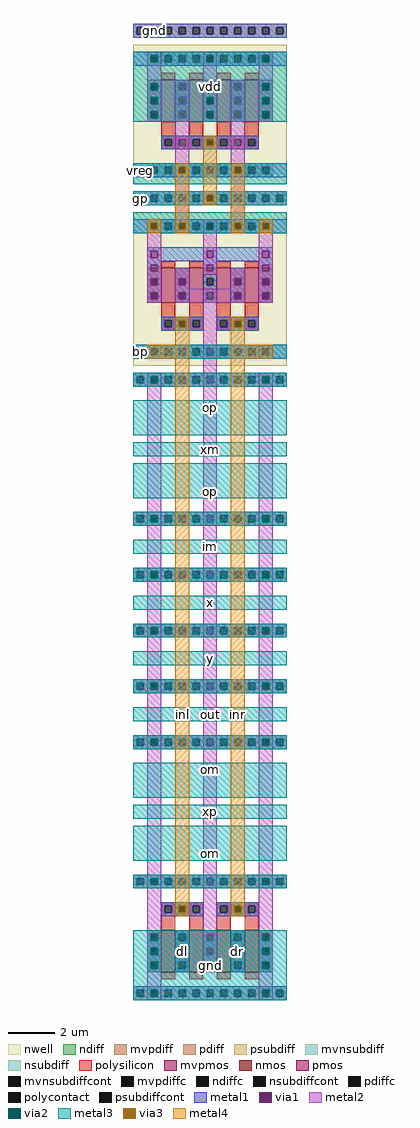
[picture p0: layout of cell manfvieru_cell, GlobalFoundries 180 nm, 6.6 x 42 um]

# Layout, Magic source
magic
tech gf180mcuC
<< nwell >>
rect -720 570 -588 690
rect -720 414 -588 546
<< nmos >>
rect -696 -108 -684 -72
rect -672 -108 -660 -72
rect -648 -108 -636 -72
rect -624 -108 -612 -72
<< pmos >>
rect -696 468 -684 498
rect -672 468 -660 498
rect -648 468 -636 498
rect -624 468 -612 498
<< mvpmos >>
rect -696 624 -684 660
rect -672 624 -660 660
rect -648 624 -636 660
rect -624 624 -612 660
<< ndiff >>
rect -708 -75 -696 -72
rect -708 -81 -705 -75
rect -699 -81 -696 -75
rect -708 -87 -696 -81
rect -708 -93 -705 -87
rect -699 -93 -696 -87
rect -708 -99 -696 -93
rect -708 -105 -705 -99
rect -699 -105 -696 -99
rect -708 -108 -696 -105
rect -684 -75 -672 -72
rect -684 -81 -681 -75
rect -675 -81 -672 -75
rect -684 -87 -672 -81
rect -684 -93 -681 -87
rect -675 -93 -672 -87
rect -684 -99 -672 -93
rect -684 -105 -681 -99
rect -675 -105 -672 -99
rect -684 -108 -672 -105
rect -660 -75 -648 -72
rect -660 -81 -657 -75
rect -651 -81 -648 -75
rect -660 -87 -648 -81
rect -660 -93 -657 -87
rect -651 -93 -648 -87
rect -660 -99 -648 -93
rect -660 -105 -657 -99
rect -651 -105 -648 -99
rect -660 -108 -648 -105
rect -636 -75 -624 -72
rect -636 -81 -633 -75
rect -627 -81 -624 -75
rect -636 -87 -624 -81
rect -636 -93 -633 -87
rect -627 -93 -624 -87
rect -636 -99 -624 -93
rect -636 -105 -633 -99
rect -627 -105 -624 -99
rect -636 -108 -624 -105
rect -612 -75 -600 -72
rect -612 -81 -609 -75
rect -603 -81 -600 -75
rect -612 -87 -600 -81
rect -612 -93 -609 -87
rect -603 -93 -600 -87
rect -612 -99 -600 -93
rect -612 -105 -609 -99
rect -603 -105 -600 -99
rect -612 -108 -600 -105
<< pdiff >>
rect -708 489 -696 498
rect -708 483 -705 489
rect -699 483 -696 489
rect -708 477 -696 483
rect -708 471 -705 477
rect -699 471 -696 477
rect -708 468 -696 471
rect -684 489 -672 498
rect -684 483 -681 489
rect -675 483 -672 489
rect -684 477 -672 483
rect -684 471 -681 477
rect -675 471 -672 477
rect -684 468 -672 471
rect -660 489 -648 498
rect -660 483 -657 489
rect -651 483 -648 489
rect -660 477 -648 483
rect -660 471 -657 477
rect -651 471 -648 477
rect -660 468 -648 471
rect -636 489 -624 498
rect -636 483 -633 489
rect -627 483 -624 489
rect -636 477 -624 483
rect -636 471 -633 477
rect -627 471 -624 477
rect -636 468 -624 471
rect -612 489 -600 498
rect -612 483 -609 489
rect -603 483 -600 489
rect -612 477 -600 483
rect -612 471 -609 477
rect -603 471 -600 477
rect -612 468 -600 471
<< mvpdiff >>
rect -708 657 -696 660
rect -708 651 -705 657
rect -699 651 -696 657
rect -708 645 -696 651
rect -708 639 -705 645
rect -699 639 -696 645
rect -708 633 -696 639
rect -708 627 -705 633
rect -699 627 -696 633
rect -708 624 -696 627
rect -684 657 -672 660
rect -684 651 -681 657
rect -675 651 -672 657
rect -684 645 -672 651
rect -684 639 -681 645
rect -675 639 -672 645
rect -684 633 -672 639
rect -684 627 -681 633
rect -675 627 -672 633
rect -684 624 -672 627
rect -660 657 -648 660
rect -660 651 -657 657
rect -651 651 -648 657
rect -660 645 -648 651
rect -660 639 -657 645
rect -651 639 -648 645
rect -660 633 -648 639
rect -660 627 -657 633
rect -651 627 -648 633
rect -660 624 -648 627
rect -636 657 -624 660
rect -636 651 -633 657
rect -627 651 -624 657
rect -636 645 -624 651
rect -636 639 -633 645
rect -627 639 -624 645
rect -636 633 -624 639
rect -636 627 -633 633
rect -627 627 -624 633
rect -636 624 -624 627
rect -612 657 -600 660
rect -612 651 -609 657
rect -603 651 -600 657
rect -612 645 -600 651
rect -612 639 -609 645
rect -603 639 -600 645
rect -612 633 -600 639
rect -612 627 -609 633
rect -603 627 -600 633
rect -612 624 -600 627
<< ndiffc >>
rect -705 -81 -699 -75
rect -705 -93 -699 -87
rect -705 -105 -699 -99
rect -681 -81 -675 -75
rect -681 -93 -675 -87
rect -681 -105 -675 -99
rect -657 -81 -651 -75
rect -657 -93 -651 -87
rect -657 -105 -651 -99
rect -633 -81 -627 -75
rect -633 -93 -627 -87
rect -633 -105 -627 -99
rect -609 -81 -603 -75
rect -609 -93 -603 -87
rect -609 -105 -603 -99
<< pdiffc >>
rect -705 483 -699 489
rect -705 471 -699 477
rect -681 483 -675 489
rect -681 471 -675 477
rect -657 483 -651 489
rect -657 471 -651 477
rect -633 483 -627 489
rect -633 471 -627 477
rect -609 483 -603 489
rect -609 471 -603 477
<< mvpdiffc >>
rect -705 651 -699 657
rect -705 639 -699 645
rect -705 627 -699 633
rect -681 651 -675 657
rect -681 639 -675 645
rect -681 627 -675 633
rect -657 651 -651 657
rect -657 639 -651 645
rect -657 627 -651 633
rect -633 651 -627 657
rect -633 639 -627 645
rect -633 627 -627 633
rect -609 651 -603 657
rect -609 639 -603 645
rect -609 627 -603 633
<< psubdiff >>
rect -720 705 -588 708
rect -720 699 -717 705
rect -711 699 -705 705
rect -699 699 -693 705
rect -687 699 -681 705
rect -675 699 -669 705
rect -663 699 -657 705
rect -651 699 -645 705
rect -639 699 -633 705
rect -627 699 -621 705
rect -615 699 -609 705
rect -603 699 -597 705
rect -591 699 -588 705
rect -720 696 -588 699
rect -720 561 -588 564
rect -720 555 -717 561
rect -711 555 -705 561
rect -699 555 -693 561
rect -687 555 -681 561
rect -675 555 -669 561
rect -663 555 -657 561
rect -651 555 -645 561
rect -639 555 -633 561
rect -627 555 -621 561
rect -615 555 -609 561
rect -603 555 -597 561
rect -591 555 -588 561
rect -720 552 -588 555
rect -720 405 -588 408
rect -720 399 -717 405
rect -711 399 -705 405
rect -699 399 -693 405
rect -687 399 -681 405
rect -675 399 -669 405
rect -663 399 -657 405
rect -651 399 -645 405
rect -639 399 -633 405
rect -627 399 -621 405
rect -615 399 -609 405
rect -603 399 -597 405
rect -591 399 -588 405
rect -720 396 -588 399
rect -720 285 -588 288
rect -720 279 -717 285
rect -711 279 -705 285
rect -699 279 -693 285
rect -687 279 -681 285
rect -675 279 -669 285
rect -663 279 -657 285
rect -651 279 -645 285
rect -639 279 -633 285
rect -627 279 -621 285
rect -615 279 -609 285
rect -603 279 -597 285
rect -591 279 -588 285
rect -720 276 -588 279
rect -720 237 -588 240
rect -720 231 -717 237
rect -711 231 -705 237
rect -699 231 -693 237
rect -687 231 -681 237
rect -675 231 -669 237
rect -663 231 -657 237
rect -651 231 -645 237
rect -639 231 -633 237
rect -627 231 -621 237
rect -615 231 -609 237
rect -603 231 -597 237
rect -591 231 -588 237
rect -720 228 -588 231
rect -720 189 -588 192
rect -720 183 -717 189
rect -711 183 -705 189
rect -699 183 -693 189
rect -687 183 -681 189
rect -675 183 -669 189
rect -663 183 -657 189
rect -651 183 -645 189
rect -639 183 -633 189
rect -627 183 -621 189
rect -615 183 -609 189
rect -603 183 -597 189
rect -591 183 -588 189
rect -720 180 -588 183
rect -720 141 -588 144
rect -720 135 -717 141
rect -711 135 -705 141
rect -699 135 -693 141
rect -687 135 -681 141
rect -675 135 -669 141
rect -663 135 -657 141
rect -651 135 -645 141
rect -639 135 -633 141
rect -627 135 -621 141
rect -615 135 -609 141
rect -603 135 -597 141
rect -591 135 -588 141
rect -720 132 -588 135
rect -720 93 -588 96
rect -720 87 -717 93
rect -711 87 -705 93
rect -699 87 -693 93
rect -687 87 -681 93
rect -675 87 -669 93
rect -663 87 -657 93
rect -651 87 -645 93
rect -639 87 -633 93
rect -627 87 -621 93
rect -615 87 -609 93
rect -603 87 -597 93
rect -591 87 -588 93
rect -720 84 -588 87
rect -720 -27 -588 -24
rect -720 -33 -717 -27
rect -711 -33 -705 -27
rect -699 -33 -693 -27
rect -687 -33 -681 -27
rect -675 -33 -669 -27
rect -663 -33 -657 -27
rect -651 -33 -645 -27
rect -639 -33 -633 -27
rect -627 -33 -621 -27
rect -615 -33 -609 -27
rect -603 -33 -597 -27
rect -591 -33 -588 -27
rect -720 -36 -588 -33
rect -720 -123 -588 -120
rect -720 -129 -717 -123
rect -711 -129 -705 -123
rect -699 -129 -693 -123
rect -687 -129 -681 -123
rect -675 -129 -669 -123
rect -663 -129 -657 -123
rect -651 -129 -645 -123
rect -639 -129 -633 -123
rect -627 -129 -621 -123
rect -615 -129 -609 -123
rect -603 -129 -597 -123
rect -591 -129 -588 -123
rect -720 -132 -588 -129
<< nsubdiff >>
rect -708 537 -600 540
rect -708 531 -705 537
rect -699 531 -693 537
rect -687 531 -681 537
rect -675 531 -669 537
rect -663 531 -657 537
rect -651 531 -645 537
rect -639 531 -633 537
rect -627 531 -621 537
rect -615 531 -609 537
rect -603 531 -600 537
rect -708 528 -600 531
rect -708 429 -600 432
rect -708 423 -705 429
rect -699 423 -693 429
rect -687 423 -681 429
rect -675 423 -669 429
rect -663 423 -657 429
rect -651 423 -645 429
rect -639 423 -633 429
rect -627 423 -621 429
rect -615 423 -609 429
rect -603 423 -600 429
rect -708 420 -600 423
<< mvnsubdiff >>
rect -708 681 -600 684
rect -708 675 -705 681
rect -699 675 -693 681
rect -687 675 -681 681
rect -675 675 -669 681
rect -663 675 -657 681
rect -651 675 -645 681
rect -639 675 -633 681
rect -627 675 -621 681
rect -615 675 -609 681
rect -603 675 -600 681
rect -708 672 -600 675
rect -708 585 -600 588
rect -708 579 -705 585
rect -699 579 -693 585
rect -687 579 -681 585
rect -675 579 -669 585
rect -663 579 -657 585
rect -651 579 -645 585
rect -639 579 -633 585
rect -627 579 -621 585
rect -615 579 -609 585
rect -603 579 -600 585
rect -708 576 -600 579
<< psubdiffcont >>
rect -717 699 -711 705
rect -705 699 -699 705
rect -693 699 -687 705
rect -681 699 -675 705
rect -669 699 -663 705
rect -657 699 -651 705
rect -645 699 -639 705
rect -633 699 -627 705
rect -621 699 -615 705
rect -609 699 -603 705
rect -597 699 -591 705
rect -717 555 -711 561
rect -705 555 -699 561
rect -693 555 -687 561
rect -681 555 -675 561
rect -669 555 -663 561
rect -657 555 -651 561
rect -645 555 -639 561
rect -633 555 -627 561
rect -621 555 -615 561
rect -609 555 -603 561
rect -597 555 -591 561
rect -717 399 -711 405
rect -705 399 -699 405
rect -693 399 -687 405
rect -681 399 -675 405
rect -669 399 -663 405
rect -657 399 -651 405
rect -645 399 -639 405
rect -633 399 -627 405
rect -621 399 -615 405
rect -609 399 -603 405
rect -597 399 -591 405
rect -717 279 -711 285
rect -705 279 -699 285
rect -693 279 -687 285
rect -681 279 -675 285
rect -669 279 -663 285
rect -657 279 -651 285
rect -645 279 -639 285
rect -633 279 -627 285
rect -621 279 -615 285
rect -609 279 -603 285
rect -597 279 -591 285
rect -717 231 -711 237
rect -705 231 -699 237
rect -693 231 -687 237
rect -681 231 -675 237
rect -669 231 -663 237
rect -657 231 -651 237
rect -645 231 -639 237
rect -633 231 -627 237
rect -621 231 -615 237
rect -609 231 -603 237
rect -597 231 -591 237
rect -717 183 -711 189
rect -705 183 -699 189
rect -693 183 -687 189
rect -681 183 -675 189
rect -669 183 -663 189
rect -657 183 -651 189
rect -645 183 -639 189
rect -633 183 -627 189
rect -621 183 -615 189
rect -609 183 -603 189
rect -597 183 -591 189
rect -717 135 -711 141
rect -705 135 -699 141
rect -693 135 -687 141
rect -681 135 -675 141
rect -669 135 -663 141
rect -657 135 -651 141
rect -645 135 -639 141
rect -633 135 -627 141
rect -621 135 -615 141
rect -609 135 -603 141
rect -597 135 -591 141
rect -717 87 -711 93
rect -705 87 -699 93
rect -693 87 -687 93
rect -681 87 -675 93
rect -669 87 -663 93
rect -657 87 -651 93
rect -645 87 -639 93
rect -633 87 -627 93
rect -621 87 -615 93
rect -609 87 -603 93
rect -597 87 -591 93
rect -717 -33 -711 -27
rect -705 -33 -699 -27
rect -693 -33 -687 -27
rect -681 -33 -675 -27
rect -669 -33 -663 -27
rect -657 -33 -651 -27
rect -645 -33 -639 -27
rect -633 -33 -627 -27
rect -621 -33 -615 -27
rect -609 -33 -603 -27
rect -597 -33 -591 -27
rect -717 -129 -711 -123
rect -705 -129 -699 -123
rect -693 -129 -687 -123
rect -681 -129 -675 -123
rect -669 -129 -663 -123
rect -657 -129 -651 -123
rect -645 -129 -639 -123
rect -633 -129 -627 -123
rect -621 -129 -615 -123
rect -609 -129 -603 -123
rect -597 -129 -591 -123
<< nsubdiffcont >>
rect -705 531 -699 537
rect -693 531 -687 537
rect -681 531 -675 537
rect -669 531 -663 537
rect -657 531 -651 537
rect -645 531 -639 537
rect -633 531 -627 537
rect -621 531 -615 537
rect -609 531 -603 537
rect -705 423 -699 429
rect -693 423 -687 429
rect -681 423 -675 429
rect -669 423 -663 429
rect -657 423 -651 429
rect -645 423 -639 429
rect -633 423 -627 429
rect -621 423 -615 429
rect -609 423 -603 429
<< mvnsubdiffcont >>
rect -705 675 -699 681
rect -693 675 -687 681
rect -681 675 -675 681
rect -669 675 -663 681
rect -657 675 -651 681
rect -645 675 -639 681
rect -633 675 -627 681
rect -621 675 -615 681
rect -609 675 -603 681
rect -705 579 -699 585
rect -693 579 -687 585
rect -681 579 -675 585
rect -669 579 -663 585
rect -657 579 -651 585
rect -645 579 -639 585
rect -633 579 -627 585
rect -621 579 -615 585
rect -609 579 -603 585
<< polysilicon >>
rect -696 660 -684 666
rect -672 660 -660 666
rect -648 660 -636 666
rect -624 660 -612 666
rect -696 612 -684 624
rect -672 612 -660 624
rect -648 612 -636 624
rect -624 612 -612 624
rect -696 609 -612 612
rect -696 603 -693 609
rect -687 603 -681 609
rect -675 603 -669 609
rect -663 603 -657 609
rect -651 603 -645 609
rect -639 603 -633 609
rect -627 603 -621 609
rect -615 603 -612 609
rect -696 600 -612 603
rect -696 498 -684 504
rect -672 498 -660 504
rect -648 498 -636 504
rect -624 498 -612 504
rect -696 456 -684 468
rect -672 456 -660 468
rect -696 453 -660 456
rect -696 447 -693 453
rect -687 447 -681 453
rect -675 447 -669 453
rect -663 447 -660 453
rect -696 444 -660 447
rect -648 456 -636 468
rect -624 456 -612 468
rect -648 453 -612 456
rect -648 447 -645 453
rect -639 447 -633 453
rect -627 447 -621 453
rect -615 447 -612 453
rect -648 444 -612 447
rect -696 -51 -660 -48
rect -696 -57 -693 -51
rect -687 -57 -681 -51
rect -675 -57 -669 -51
rect -663 -57 -660 -51
rect -696 -60 -660 -57
rect -696 -72 -684 -60
rect -672 -72 -660 -60
rect -648 -51 -612 -48
rect -648 -57 -645 -51
rect -639 -57 -633 -51
rect -627 -57 -621 -51
rect -615 -57 -612 -51
rect -648 -60 -612 -57
rect -648 -72 -636 -60
rect -624 -72 -612 -60
rect -696 -114 -684 -108
rect -672 -114 -660 -108
rect -648 -114 -636 -108
rect -624 -114 -612 -108
<< polycontact >>
rect -693 603 -687 609
rect -681 603 -675 609
rect -669 603 -663 609
rect -657 603 -651 609
rect -645 603 -639 609
rect -633 603 -627 609
rect -621 603 -615 609
rect -693 447 -687 453
rect -681 447 -675 453
rect -669 447 -663 453
rect -645 447 -639 453
rect -633 447 -627 453
rect -621 447 -615 453
rect -693 -57 -687 -51
rect -681 -57 -675 -51
rect -669 -57 -663 -51
rect -645 -57 -639 -51
rect -633 -57 -627 -51
rect -621 -57 -615 -51
<< metal1 >>
rect -720 705 -588 708
rect -720 699 -717 705
rect -711 699 -705 705
rect -699 699 -693 705
rect -687 699 -681 705
rect -675 699 -669 705
rect -663 699 -657 705
rect -651 699 -645 705
rect -639 699 -633 705
rect -627 699 -621 705
rect -615 699 -609 705
rect -603 699 -597 705
rect -591 699 -588 705
rect -720 696 -588 699
rect -720 681 -588 684
rect -720 675 -705 681
rect -699 675 -693 681
rect -687 675 -681 681
rect -675 675 -669 681
rect -663 675 -657 681
rect -651 675 -645 681
rect -639 675 -633 681
rect -627 675 -621 681
rect -615 675 -609 681
rect -603 675 -588 681
rect -720 672 -588 675
rect -708 657 -696 660
rect -708 651 -705 657
rect -699 651 -696 657
rect -708 645 -696 651
rect -708 639 -705 645
rect -699 639 -696 645
rect -708 633 -696 639
rect -708 627 -705 633
rect -699 627 -696 633
rect -708 624 -696 627
rect -684 657 -672 660
rect -684 651 -681 657
rect -675 651 -672 657
rect -684 645 -672 651
rect -684 639 -681 645
rect -675 639 -672 645
rect -684 633 -672 639
rect -684 627 -681 633
rect -675 627 -672 633
rect -684 624 -672 627
rect -660 657 -648 660
rect -660 651 -657 657
rect -651 651 -648 657
rect -660 645 -648 651
rect -660 639 -657 645
rect -651 639 -648 645
rect -660 633 -648 639
rect -660 627 -657 633
rect -651 627 -648 633
rect -660 624 -648 627
rect -636 657 -624 660
rect -636 651 -633 657
rect -627 651 -624 657
rect -636 645 -624 651
rect -636 639 -633 645
rect -627 639 -624 645
rect -636 633 -624 639
rect -636 627 -633 633
rect -627 627 -624 633
rect -636 624 -624 627
rect -612 657 -600 660
rect -612 651 -609 657
rect -603 651 -600 657
rect -612 645 -600 651
rect -612 639 -609 645
rect -603 639 -600 645
rect -612 633 -600 639
rect -612 627 -609 633
rect -603 627 -600 633
rect -612 624 -600 627
rect -696 609 -612 612
rect -696 603 -693 609
rect -687 603 -681 609
rect -675 603 -669 609
rect -663 603 -657 609
rect -651 603 -645 609
rect -639 603 -633 609
rect -627 603 -621 609
rect -615 603 -612 609
rect -696 600 -612 603
rect -720 585 -588 588
rect -720 579 -705 585
rect -699 579 -693 585
rect -687 579 -681 585
rect -675 579 -669 585
rect -663 579 -657 585
rect -651 579 -645 585
rect -639 579 -633 585
rect -627 579 -621 585
rect -615 579 -609 585
rect -603 579 -588 585
rect -720 576 -588 579
rect -720 561 -588 564
rect -720 555 -717 561
rect -711 555 -705 561
rect -699 555 -693 561
rect -687 555 -681 561
rect -675 555 -669 561
rect -663 555 -657 561
rect -651 555 -645 561
rect -639 555 -633 561
rect -627 555 -621 561
rect -615 555 -609 561
rect -603 555 -597 561
rect -591 555 -588 561
rect -720 552 -588 555
rect -720 537 -588 540
rect -720 531 -705 537
rect -699 531 -693 537
rect -687 531 -681 537
rect -675 531 -669 537
rect -663 531 -657 537
rect -651 531 -645 537
rect -639 531 -633 537
rect -627 531 -621 537
rect -615 531 -609 537
rect -603 531 -588 537
rect -720 528 -588 531
rect -708 513 -600 516
rect -708 507 -705 513
rect -699 507 -657 513
rect -651 507 -609 513
rect -603 507 -600 513
rect -708 504 -600 507
rect -708 501 -696 504
rect -708 495 -705 501
rect -699 495 -696 501
rect -660 501 -648 504
rect -708 489 -696 495
rect -708 483 -705 489
rect -699 483 -696 489
rect -708 477 -696 483
rect -708 471 -705 477
rect -699 471 -696 477
rect -708 468 -696 471
rect -684 489 -672 498
rect -684 483 -681 489
rect -675 483 -672 489
rect -684 477 -672 483
rect -684 471 -681 477
rect -675 471 -672 477
rect -684 468 -672 471
rect -660 495 -657 501
rect -651 495 -648 501
rect -612 501 -600 504
rect -660 489 -648 495
rect -660 483 -657 489
rect -651 483 -648 489
rect -660 477 -648 483
rect -660 471 -657 477
rect -651 471 -648 477
rect -660 468 -648 471
rect -636 489 -624 498
rect -636 483 -633 489
rect -627 483 -624 489
rect -636 477 -624 483
rect -636 471 -633 477
rect -627 471 -624 477
rect -636 468 -624 471
rect -612 495 -609 501
rect -603 495 -600 501
rect -612 489 -600 495
rect -612 483 -609 489
rect -603 483 -600 489
rect -612 477 -600 483
rect -612 471 -609 477
rect -603 471 -600 477
rect -612 468 -600 471
rect -696 453 -660 456
rect -696 447 -693 453
rect -687 447 -681 453
rect -675 447 -669 453
rect -663 447 -660 453
rect -696 444 -660 447
rect -648 453 -612 456
rect -648 447 -645 453
rect -639 447 -633 453
rect -627 447 -621 453
rect -615 447 -612 453
rect -648 444 -612 447
rect -720 429 -588 432
rect -720 423 -705 429
rect -699 423 -693 429
rect -687 423 -681 429
rect -675 423 -669 429
rect -663 423 -657 429
rect -651 423 -645 429
rect -639 423 -633 429
rect -627 423 -621 429
rect -615 423 -609 429
rect -603 423 -588 429
rect -720 420 -588 423
rect -720 405 -588 408
rect -720 399 -717 405
rect -711 399 -705 405
rect -699 399 -693 405
rect -687 399 -681 405
rect -675 399 -669 405
rect -663 399 -657 405
rect -651 399 -645 405
rect -639 399 -633 405
rect -627 399 -621 405
rect -615 399 -609 405
rect -603 399 -597 405
rect -591 399 -588 405
rect -720 396 -588 399
rect -720 285 -588 288
rect -720 279 -717 285
rect -711 279 -705 285
rect -699 279 -693 285
rect -687 279 -681 285
rect -675 279 -669 285
rect -663 279 -657 285
rect -651 279 -645 285
rect -639 279 -633 285
rect -627 279 -621 285
rect -615 279 -609 285
rect -603 279 -597 285
rect -591 279 -588 285
rect -720 276 -588 279
rect -720 237 -588 240
rect -720 231 -717 237
rect -711 231 -705 237
rect -699 231 -693 237
rect -687 231 -681 237
rect -675 231 -669 237
rect -663 231 -657 237
rect -651 231 -645 237
rect -639 231 -633 237
rect -627 231 -621 237
rect -615 231 -609 237
rect -603 231 -597 237
rect -591 231 -588 237
rect -720 228 -588 231
rect -720 189 -588 192
rect -720 183 -717 189
rect -711 183 -705 189
rect -699 183 -693 189
rect -687 183 -681 189
rect -675 183 -669 189
rect -663 183 -657 189
rect -651 183 -645 189
rect -639 183 -633 189
rect -627 183 -621 189
rect -615 183 -609 189
rect -603 183 -597 189
rect -591 183 -588 189
rect -720 180 -588 183
rect -720 141 -588 144
rect -720 135 -717 141
rect -711 135 -705 141
rect -699 135 -693 141
rect -687 135 -681 141
rect -675 135 -669 141
rect -663 135 -657 141
rect -651 135 -645 141
rect -639 135 -633 141
rect -627 135 -621 141
rect -615 135 -609 141
rect -603 135 -597 141
rect -591 135 -588 141
rect -720 132 -588 135
rect -720 93 -588 96
rect -720 87 -717 93
rect -711 87 -705 93
rect -699 87 -693 93
rect -687 87 -681 93
rect -675 87 -669 93
rect -663 87 -657 93
rect -651 87 -645 93
rect -639 87 -633 93
rect -627 87 -621 93
rect -615 87 -609 93
rect -603 87 -597 93
rect -591 87 -588 93
rect -720 84 -588 87
rect -720 -27 -588 -24
rect -720 -33 -717 -27
rect -711 -33 -705 -27
rect -699 -33 -693 -27
rect -687 -33 -681 -27
rect -675 -33 -669 -27
rect -663 -33 -657 -27
rect -651 -33 -645 -27
rect -639 -33 -633 -27
rect -627 -33 -621 -27
rect -615 -33 -609 -27
rect -603 -33 -597 -27
rect -591 -33 -588 -27
rect -720 -36 -588 -33
rect -696 -51 -660 -48
rect -696 -57 -693 -51
rect -687 -57 -681 -51
rect -675 -57 -669 -51
rect -663 -57 -660 -51
rect -696 -60 -660 -57
rect -648 -51 -612 -48
rect -648 -57 -645 -51
rect -639 -57 -633 -51
rect -627 -57 -621 -51
rect -615 -57 -612 -51
rect -648 -60 -612 -57
rect -708 -75 -696 -72
rect -708 -81 -705 -75
rect -699 -81 -696 -75
rect -708 -87 -696 -81
rect -708 -93 -705 -87
rect -699 -93 -696 -87
rect -708 -99 -696 -93
rect -708 -105 -705 -99
rect -699 -105 -696 -99
rect -708 -108 -696 -105
rect -684 -75 -672 -72
rect -684 -81 -681 -75
rect -675 -81 -672 -75
rect -684 -87 -672 -81
rect -684 -93 -681 -87
rect -675 -93 -672 -87
rect -684 -99 -672 -93
rect -684 -105 -681 -99
rect -675 -105 -672 -99
rect -684 -108 -672 -105
rect -660 -75 -648 -72
rect -660 -81 -657 -75
rect -651 -81 -648 -75
rect -660 -87 -648 -81
rect -660 -93 -657 -87
rect -651 -93 -648 -87
rect -660 -99 -648 -93
rect -660 -105 -657 -99
rect -651 -105 -648 -99
rect -660 -108 -648 -105
rect -636 -75 -624 -72
rect -636 -81 -633 -75
rect -627 -81 -624 -75
rect -636 -87 -624 -81
rect -636 -93 -633 -87
rect -627 -93 -624 -87
rect -636 -99 -624 -93
rect -636 -105 -633 -99
rect -627 -105 -624 -99
rect -636 -108 -624 -105
rect -612 -75 -600 -72
rect -612 -81 -609 -75
rect -603 -81 -600 -75
rect -612 -87 -600 -81
rect -612 -93 -609 -87
rect -603 -93 -600 -87
rect -612 -99 -600 -93
rect -612 -105 -609 -99
rect -603 -105 -600 -99
rect -612 -108 -600 -105
rect -720 -123 -588 -120
rect -720 -129 -717 -123
rect -711 -129 -705 -123
rect -699 -129 -693 -123
rect -687 -129 -681 -123
rect -675 -129 -669 -123
rect -663 -129 -657 -123
rect -651 -129 -645 -123
rect -639 -129 -633 -123
rect -627 -129 -621 -123
rect -615 -129 -609 -123
rect -603 -129 -597 -123
rect -591 -129 -588 -123
rect -720 -132 -588 -129
<< via1 >>
rect -705 675 -699 681
rect -657 675 -651 681
rect -609 675 -603 681
rect -705 651 -699 657
rect -705 639 -699 645
rect -705 627 -699 633
rect -681 651 -675 657
rect -681 639 -675 645
rect -681 627 -675 633
rect -657 651 -651 657
rect -657 639 -651 645
rect -657 627 -651 633
rect -633 651 -627 657
rect -633 639 -627 645
rect -633 627 -627 633
rect -609 651 -603 657
rect -609 639 -603 645
rect -609 627 -603 633
rect -657 603 -651 609
rect -705 507 -699 513
rect -657 507 -651 513
rect -609 507 -603 513
rect -705 495 -699 501
rect -705 483 -699 489
rect -705 471 -699 477
rect -681 483 -675 489
rect -681 471 -675 477
rect -657 495 -651 501
rect -633 483 -627 489
rect -633 471 -627 477
rect -609 495 -603 501
rect -609 483 -603 489
rect -609 471 -603 477
rect -681 447 -675 453
rect -633 447 -627 453
rect -705 423 -699 429
rect -609 423 -603 429
rect -705 399 -699 405
rect -609 399 -603 405
rect -705 279 -699 285
rect -609 279 -603 285
rect -705 231 -699 237
rect -609 231 -603 237
rect -705 183 -699 189
rect -609 183 -603 189
rect -705 135 -699 141
rect -609 135 -603 141
rect -705 87 -699 93
rect -609 87 -603 93
rect -705 -33 -699 -27
rect -609 -33 -603 -27
rect -681 -57 -675 -51
rect -633 -57 -627 -51
rect -705 -81 -699 -75
rect -705 -93 -699 -87
rect -705 -105 -699 -99
rect -657 -81 -651 -75
rect -657 -93 -651 -87
rect -657 -105 -651 -99
rect -609 -81 -603 -75
rect -609 -93 -603 -87
rect -609 -105 -603 -99
rect -705 -129 -699 -123
rect -609 -129 -603 -123
<< metal2 >>
rect -708 681 -696 684
rect -708 675 -705 681
rect -699 675 -696 681
rect -708 657 -696 675
rect -660 681 -648 684
rect -660 675 -657 681
rect -651 675 -648 681
rect -708 651 -705 657
rect -699 651 -696 657
rect -708 645 -696 651
rect -708 639 -705 645
rect -699 639 -696 645
rect -708 633 -696 639
rect -708 627 -705 633
rect -699 627 -696 633
rect -708 624 -696 627
rect -684 657 -672 660
rect -684 651 -681 657
rect -675 651 -672 657
rect -684 645 -672 651
rect -684 639 -681 645
rect -675 639 -672 645
rect -684 633 -672 639
rect -684 627 -681 633
rect -675 627 -672 633
rect -684 585 -672 627
rect -660 657 -648 675
rect -612 681 -600 684
rect -612 675 -609 681
rect -603 675 -600 681
rect -660 651 -657 657
rect -651 651 -648 657
rect -660 645 -648 651
rect -660 639 -657 645
rect -651 639 -648 645
rect -660 633 -648 639
rect -660 627 -657 633
rect -651 627 -648 633
rect -660 624 -648 627
rect -636 657 -624 660
rect -636 651 -633 657
rect -627 651 -624 657
rect -636 645 -624 651
rect -636 639 -633 645
rect -627 639 -624 645
rect -636 633 -624 639
rect -636 627 -633 633
rect -627 627 -624 633
rect -660 609 -648 612
rect -660 603 -657 609
rect -651 603 -648 609
rect -660 600 -648 603
rect -684 579 -681 585
rect -675 579 -672 585
rect -708 537 -696 540
rect -708 531 -705 537
rect -699 531 -696 537
rect -708 513 -696 531
rect -684 537 -672 579
rect -636 585 -624 627
rect -612 657 -600 675
rect -612 651 -609 657
rect -603 651 -600 657
rect -612 645 -600 651
rect -612 639 -609 645
rect -603 639 -600 645
rect -612 633 -600 639
rect -612 627 -609 633
rect -603 627 -600 633
rect -612 624 -600 627
rect -636 579 -633 585
rect -627 579 -624 585
rect -684 531 -681 537
rect -675 531 -672 537
rect -684 528 -672 531
rect -660 537 -648 540
rect -660 531 -657 537
rect -651 531 -648 537
rect -708 507 -705 513
rect -699 507 -696 513
rect -708 501 -696 507
rect -708 495 -705 501
rect -699 495 -696 501
rect -660 513 -648 531
rect -636 537 -624 579
rect -636 531 -633 537
rect -627 531 -624 537
rect -636 528 -624 531
rect -612 537 -600 540
rect -612 531 -609 537
rect -603 531 -600 537
rect -660 507 -657 513
rect -651 507 -648 513
rect -660 501 -648 507
rect -708 489 -696 495
rect -708 483 -705 489
rect -699 483 -696 489
rect -708 477 -696 483
rect -708 471 -705 477
rect -699 471 -696 477
rect -708 468 -696 471
rect -684 489 -672 498
rect -660 495 -657 501
rect -651 495 -648 501
rect -612 513 -600 531
rect -612 507 -609 513
rect -603 507 -600 513
rect -612 501 -600 507
rect -660 492 -648 495
rect -684 483 -681 489
rect -675 483 -672 489
rect -684 480 -672 483
rect -636 489 -624 498
rect -636 483 -633 489
rect -627 483 -624 489
rect -636 480 -624 483
rect -684 477 -624 480
rect -684 471 -681 477
rect -675 471 -633 477
rect -627 471 -624 477
rect -684 468 -624 471
rect -612 495 -609 501
rect -603 495 -600 501
rect -612 489 -600 495
rect -612 483 -609 489
rect -603 483 -600 489
rect -612 477 -600 483
rect -612 471 -609 477
rect -603 471 -600 477
rect -612 468 -600 471
rect -684 453 -672 456
rect -684 447 -681 453
rect -675 447 -672 453
rect -684 444 -672 447
rect -708 429 -696 432
rect -708 423 -705 429
rect -699 423 -696 429
rect -708 420 -696 423
rect -708 405 -696 408
rect -708 399 -705 405
rect -699 399 -696 405
rect -708 285 -696 399
rect -708 279 -705 285
rect -699 279 -696 285
rect -708 237 -696 279
rect -708 231 -705 237
rect -699 231 -696 237
rect -708 189 -696 231
rect -708 183 -705 189
rect -699 183 -696 189
rect -708 141 -696 183
rect -708 135 -705 141
rect -699 135 -696 141
rect -708 93 -696 135
rect -708 87 -705 93
rect -699 87 -696 93
rect -708 -27 -696 87
rect -708 -33 -705 -27
rect -699 -33 -696 -27
rect -708 -75 -696 -33
rect -684 -51 -672 -48
rect -684 -57 -681 -51
rect -675 -57 -672 -51
rect -684 -60 -672 -57
rect -708 -81 -705 -75
rect -699 -81 -696 -75
rect -708 -87 -696 -81
rect -708 -93 -705 -87
rect -699 -93 -696 -87
rect -708 -99 -696 -93
rect -708 -105 -705 -99
rect -699 -105 -696 -99
rect -708 -123 -696 -105
rect -660 -75 -648 468
rect -636 453 -624 456
rect -636 447 -633 453
rect -627 447 -624 453
rect -636 444 -624 447
rect -612 429 -600 432
rect -612 423 -609 429
rect -603 423 -600 429
rect -612 420 -600 423
rect -612 405 -600 408
rect -612 399 -609 405
rect -603 399 -600 405
rect -612 285 -600 399
rect -612 279 -609 285
rect -603 279 -600 285
rect -612 237 -600 279
rect -612 231 -609 237
rect -603 231 -600 237
rect -612 189 -600 231
rect -612 183 -609 189
rect -603 183 -600 189
rect -612 141 -600 183
rect -612 135 -609 141
rect -603 135 -600 141
rect -612 93 -600 135
rect -612 87 -609 93
rect -603 87 -600 93
rect -612 -27 -600 87
rect -612 -33 -609 -27
rect -603 -33 -600 -27
rect -636 -51 -624 -48
rect -636 -57 -633 -51
rect -627 -57 -624 -51
rect -636 -60 -624 -57
rect -660 -81 -657 -75
rect -651 -81 -648 -75
rect -660 -87 -648 -81
rect -660 -93 -657 -87
rect -651 -93 -648 -87
rect -660 -99 -648 -93
rect -660 -105 -657 -99
rect -651 -105 -648 -99
rect -660 -108 -648 -105
rect -612 -75 -600 -33
rect -612 -81 -609 -75
rect -603 -81 -600 -75
rect -612 -87 -600 -81
rect -612 -93 -609 -87
rect -603 -93 -600 -87
rect -612 -99 -600 -93
rect -612 -105 -609 -99
rect -603 -105 -600 -99
rect -708 -129 -705 -123
rect -699 -129 -696 -123
rect -708 -132 -696 -129
rect -612 -123 -600 -105
rect -612 -129 -609 -123
rect -603 -129 -600 -123
rect -612 -132 -600 -129
<< via2 >>
rect -705 675 -699 681
rect -657 675 -651 681
rect -705 651 -699 657
rect -705 639 -699 645
rect -705 627 -699 633
rect -609 675 -603 681
rect -657 651 -651 657
rect -657 639 -651 645
rect -657 627 -651 633
rect -657 603 -651 609
rect -681 579 -675 585
rect -705 531 -699 537
rect -609 651 -603 657
rect -609 639 -603 645
rect -609 627 -603 633
rect -633 579 -627 585
rect -681 531 -675 537
rect -657 531 -651 537
rect -633 531 -627 537
rect -609 531 -603 537
rect -681 447 -675 453
rect -705 423 -699 429
rect -705 399 -699 405
rect -705 279 -699 285
rect -705 231 -699 237
rect -705 183 -699 189
rect -705 135 -699 141
rect -705 87 -699 93
rect -705 -33 -699 -27
rect -681 -57 -675 -51
rect -705 -81 -699 -75
rect -705 -93 -699 -87
rect -705 -105 -699 -99
rect -633 447 -627 453
rect -609 423 -603 429
rect -609 399 -603 405
rect -609 279 -603 285
rect -609 231 -603 237
rect -609 183 -603 189
rect -609 135 -603 141
rect -609 87 -603 93
rect -609 -33 -603 -27
rect -633 -57 -627 -51
rect -609 -81 -603 -75
rect -609 -93 -603 -87
rect -609 -105 -603 -99
rect -705 -129 -699 -123
rect -609 -129 -603 -123
<< metal3 >>
rect -720 681 -588 684
rect -720 675 -705 681
rect -699 675 -657 681
rect -651 675 -609 681
rect -603 675 -588 681
rect -720 657 -588 675
rect -720 651 -705 657
rect -699 651 -657 657
rect -651 651 -609 657
rect -603 651 -588 657
rect -720 645 -588 651
rect -720 639 -705 645
rect -699 639 -657 645
rect -651 639 -609 645
rect -603 639 -588 645
rect -720 633 -588 639
rect -720 627 -705 633
rect -699 627 -657 633
rect -651 627 -609 633
rect -603 627 -588 633
rect -720 624 -588 627
rect -660 609 -648 612
rect -660 603 -657 609
rect -651 603 -648 609
rect -660 600 -648 603
rect -720 585 -588 588
rect -720 579 -681 585
rect -675 579 -633 585
rect -627 579 -588 585
rect -720 570 -588 579
rect -720 561 -588 564
rect -720 555 -657 561
rect -651 555 -588 561
rect -720 552 -588 555
rect -720 537 -588 546
rect -720 531 -705 537
rect -699 531 -681 537
rect -675 531 -657 537
rect -651 531 -633 537
rect -627 531 -609 537
rect -603 531 -588 537
rect -720 528 -588 531
rect -684 453 -672 456
rect -684 447 -681 453
rect -675 447 -672 453
rect -684 444 -672 447
rect -636 453 -624 456
rect -636 447 -633 453
rect -627 447 -624 453
rect -636 444 -624 447
rect -720 429 -588 432
rect -720 423 -705 429
rect -699 423 -609 429
rect -603 423 -588 429
rect -720 420 -588 423
rect -720 405 -588 408
rect -720 399 -705 405
rect -699 399 -609 405
rect -603 399 -588 405
rect -720 396 -588 399
rect -720 354 -588 384
rect -720 336 -588 348
rect -720 300 -588 330
rect -720 285 -588 288
rect -720 279 -705 285
rect -699 279 -609 285
rect -603 279 -588 285
rect -720 276 -588 279
rect -720 252 -588 264
rect -720 237 -588 240
rect -720 231 -705 237
rect -699 231 -609 237
rect -603 231 -588 237
rect -720 228 -588 231
rect -720 204 -588 216
rect -720 189 -588 192
rect -720 183 -705 189
rect -699 183 -609 189
rect -603 183 -588 189
rect -720 180 -588 183
rect -720 156 -588 168
rect -720 141 -588 144
rect -720 135 -705 141
rect -699 135 -609 141
rect -603 135 -588 141
rect -720 132 -588 135
rect -720 108 -588 120
rect -720 93 -588 96
rect -720 87 -705 93
rect -699 87 -609 93
rect -603 87 -588 93
rect -720 84 -588 87
rect -720 42 -588 72
rect -720 24 -588 36
rect -720 -12 -588 18
rect -720 -27 -588 -24
rect -720 -33 -705 -27
rect -699 -33 -609 -27
rect -603 -33 -588 -27
rect -720 -36 -588 -33
rect -684 -51 -672 -48
rect -684 -57 -681 -51
rect -675 -57 -672 -51
rect -684 -60 -672 -57
rect -636 -51 -624 -48
rect -636 -57 -633 -51
rect -627 -57 -624 -51
rect -636 -60 -624 -57
rect -720 -75 -588 -72
rect -720 -81 -705 -75
rect -699 -81 -609 -75
rect -603 -81 -588 -75
rect -720 -87 -588 -81
rect -720 -93 -705 -87
rect -699 -93 -609 -87
rect -603 -93 -588 -87
rect -720 -99 -588 -93
rect -720 -105 -705 -99
rect -699 -105 -609 -99
rect -603 -105 -588 -99
rect -720 -123 -588 -105
rect -720 -129 -705 -123
rect -699 -129 -609 -123
rect -603 -129 -588 -123
rect -720 -132 -588 -129
<< via3 >>
rect -657 603 -651 609
rect -681 579 -675 585
rect -633 579 -627 585
rect -657 555 -651 561
rect -705 531 -699 537
rect -681 531 -675 537
rect -633 531 -627 537
rect -609 531 -603 537
rect -681 447 -675 453
rect -633 447 -627 453
rect -681 -57 -675 -51
rect -633 -57 -627 -51
<< metal4 >>
rect -660 609 -648 612
rect -660 603 -657 609
rect -651 603 -648 609
rect -684 585 -672 588
rect -684 579 -681 585
rect -675 579 -672 585
rect -708 537 -696 540
rect -708 531 -705 537
rect -699 531 -696 537
rect -708 528 -696 531
rect -684 537 -672 579
rect -660 561 -648 603
rect -660 555 -657 561
rect -651 555 -648 561
rect -660 552 -648 555
rect -636 585 -624 588
rect -636 579 -633 585
rect -627 579 -624 585
rect -684 531 -681 537
rect -675 531 -672 537
rect -684 528 -672 531
rect -636 537 -624 579
rect -636 531 -633 537
rect -627 531 -624 537
rect -636 528 -624 531
rect -612 537 -600 540
rect -612 531 -609 537
rect -603 531 -600 537
rect -612 528 -600 531
rect -684 453 -672 456
rect -684 447 -681 453
rect -675 447 -672 453
rect -684 432 -672 447
rect -708 420 -672 432
rect -684 -51 -672 420
rect -684 -57 -681 -51
rect -675 -57 -672 -51
rect -684 -60 -672 -57
rect -636 453 -624 456
rect -636 447 -633 453
rect -627 447 -624 453
rect -636 432 -624 447
rect -636 420 -600 432
rect -636 -51 -624 420
rect -636 -57 -633 -51
rect -627 -57 -624 -51
rect -636 -60 -624 -57
<< labels >>
rlabel metal4 -684 -12 -672 240 0 inl
port 1 nsew
rlabel metal4 -636 -12 -624 240 0 inr
port 2 nsew
rlabel metal2 -660 -12 -648 240 0 out
port 3 nsew
rlabel metal3 -720 -132 -588 -72 0 gnd
port 14 nsew
rlabel metal1 -684 -108 -672 -72 0 dl
rlabel metal1 -636 -108 -624 -72 0 dr
rlabel metal3 -720 -12 -588 0 0 om
port 15 nsew
rlabel metal3 -720 24 -588 36 0 xp
port 13 nsew
rlabel metal3 -720 108 -588 120 0 ip
port 11 nsew
rlabel metal3 -720 60 -588 72 0 om
port 15 nsew
rlabel metal3 -720 252 -588 264 0 im
port 10 nsew
rlabel metal3 -720 336 -588 348 0 xm
port 9 nsew
rlabel metal3 -720 624 -588 684 0 vdd
port 4 nsew
rlabel metal3 -720 552 -708 564 0 gp
port 5 nsew
rlabel metal3 -720 420 -708 432 0 bp
port 6 nsew
rlabel metal3 -720 576 -708 588 0 vreg
port 7 nsew
rlabel metal3 -720 372 -588 384 0 op
port 8 nsew
rlabel metal1 -708 552 -696 564 0 gnd
rlabel metal1 -708 696 -696 708 0 gnd
rlabel metal3 -720 300 -588 312 0 op
port 8 nsew
rlabel metal3 -720 204 -588 216 0 x
port 16 nsew
rlabel metal3 -720 156 -588 168 0 y
port 17 nsew
<< end >>
